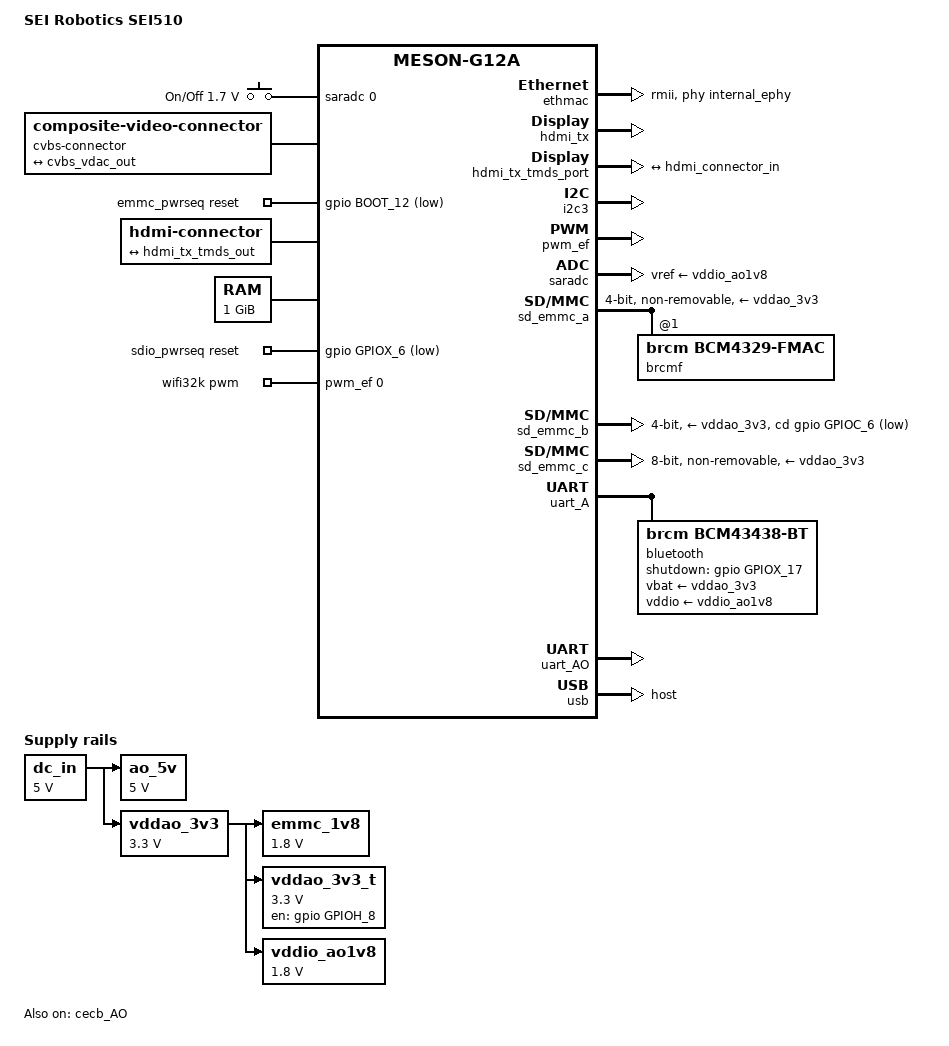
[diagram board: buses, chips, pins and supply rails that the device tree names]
// SPDX-License-Identifier: (GPL-2.0+ OR MIT)
/*
 * Copyright (c) 2019 BayLibre SAS. All rights reserved.
 */

/dts-v1/;

#include "meson-g12a.dtsi"
#include <dt-bindings/gpio/gpio.h>
#include <dt-bindings/input/input.h>
#include <dt-bindings/gpio/meson-g12a-gpio.h>

/ {
	compatible = "seirobotics,sei510", "amlogic,g12a";
	model = "SEI Robotics SEI510";

	adc_keys {
		compatible = "adc-keys";
		io-channels = <&saradc 0>;
		io-channel-names = "buttons";
		keyup-threshold-microvolt = <1800000>;

		button-onoff {
			label = "On/Off";
			linux,code = <KEY_POWER>;
			press-threshold-microvolt = <1700000>;
		};
	};

	aliases {
		serial0 = &uart_AO;
		ethernet0 = &ethmac;
	};

	chosen {
		stdout-path = "serial0:115200n8";
	};

	cvbs-connector {
		compatible = "composite-video-connector";

		port {
			cvbs_connector_in: endpoint {
				remote-endpoint = <&cvbs_vdac_out>;
			};
		};
	};

	emmc_pwrseq: emmc-pwrseq {
		compatible = "mmc-pwrseq-emmc";
		reset-gpios = <&gpio BOOT_12 GPIO_ACTIVE_LOW>;
	};

	hdmi-connector {
		compatible = "hdmi-connector";
		type = "a";

		port {
			hdmi_connector_in: endpoint {
				remote-endpoint = <&hdmi_tx_tmds_out>;
			};
		};
	};

	memory@0 {
		device_type = "memory";
		reg = <0x0 0x0 0x0 0x40000000>;
	};

	ao_5v: regulator-ao_5v {
		compatible = "regulator-fixed";
		regulator-name = "AO_5V";
		regulator-min-microvolt = <5000000>;
		regulator-max-microvolt = <5000000>;
		vin-supply = <&dc_in>;
		regulator-always-on;
	};

	dc_in: regulator-dc_in {
		compatible = "regulator-fixed";
		regulator-name = "DC_IN";
		regulator-min-microvolt = <5000000>;
		regulator-max-microvolt = <5000000>;
		regulator-always-on;
	};

	emmc_1v8: regulator-emmc_1v8 {
		compatible = "regulator-fixed";
		regulator-name = "EMMC_1V8";
		regulator-min-microvolt = <1800000>;
		regulator-max-microvolt = <1800000>;
		vin-supply = <&vddao_3v3>;
		regulator-always-on;
	};

	vddao_3v3: regulator-vddao_3v3 {
		compatible = "regulator-fixed";
		regulator-name = "VDDAO_3V3";
		regulator-min-microvolt = <3300000>;
		regulator-max-microvolt = <3300000>;
		vin-supply = <&dc_in>;
		regulator-always-on;
	};

	vddao_3v3_t: regultor-vddao_3v3_t {
		compatible = "regulator-fixed";
		regulator-name = "VDDAO_3V3_T";
		regulator-min-microvolt = <3300000>;
		regulator-max-microvolt = <3300000>;
		vin-supply = <&vddao_3v3>;
		gpio = <&gpio GPIOH_8 GPIO_OPEN_DRAIN>;
		enable-active-high;
	};

	vddio_ao1v8: regulator-vddio_ao1v8 {
		compatible = "regulator-fixed";
		regulator-name = "VDDIO_AO1V8";
		regulator-min-microvolt = <1800000>;
		regulator-max-microvolt = <1800000>;
		vin-supply = <&vddao_3v3>;
		regulator-always-on;
	};

	reserved-memory {
		/* TEE Reserved Memory */
		bl32_reserved: bl32@5000000 {
			reg = <0x0 0x05300000 0x0 0x2000000>;
			no-map;
		};
	};

	sdio_pwrseq: sdio-pwrseq {
		compatible = "mmc-pwrseq-simple";
		reset-gpios = <&gpio GPIOX_6 GPIO_ACTIVE_LOW>;
		clocks = <&wifi32k>;
		clock-names = "ext_clock";
	};

	wifi32k: wifi32k {
		compatible = "pwm-clock";
		#clock-cells = <0>;
		clock-frequency = <32768>;
		pwms = <&pwm_ef 0 30518 0>; /* PWM_E at 32.768KHz */
	};
};

&cec_AO {
	pinctrl-0 = <&cec_ao_a_h_pins>;
	pinctrl-names = "default";
	status = "disabled";
	hdmi-phandle = <&hdmi_tx>;
};

&cecb_AO {
	pinctrl-0 = <&cec_ao_b_h_pins>;
	pinctrl-names = "default";
	status = "okay";
	hdmi-phandle = <&hdmi_tx>;
};

&cvbs_vdac_port {
	cvbs_vdac_out: endpoint {
		remote-endpoint = <&cvbs_connector_in>;
	};
};

&ethmac {
	status = "okay";
	phy-handle = <&internal_ephy>;
	phy-mode = "rmii";
};

&hdmi_tx {
	status = "okay";
	pinctrl-0 = <&hdmitx_hpd_pins>, <&hdmitx_ddc_pins>;
	pinctrl-names = "default";
};

&hdmi_tx_tmds_port {
	hdmi_tx_tmds_out: endpoint {
		remote-endpoint = <&hdmi_connector_in>;
	};
};

&i2c3 {
	status = "okay";
	pinctrl-0 = <&i2c3_sda_a_pins>, <&i2c3_sck_a_pins>;
	pinctrl-names = "default";
};

&pwm_ef {
	status = "okay";
	pinctrl-0 = <&pwm_e_pins>;
	pinctrl-names = "default";
	clocks = <&xtal>;
	clock-names = "clkin0";
};

&saradc {
	status = "okay";
	vref-supply = <&vddio_ao1v8>;
};

/* SDIO */
&sd_emmc_a {
	status = "okay";
	pinctrl-0 = <&sdio_pins>;
	pinctrl-1 = <&sdio_clk_gate_pins>;
	pinctrl-names = "default", "clk-gate";
	#address-cells = <1>;
	#size-cells = <0>;

	bus-width = <4>;
	cap-sd-highspeed;
	sd-uhs-sdr50;
	max-frequency = <100000000>;

	non-removable;
	disable-wp;

	mmc-pwrseq = <&sdio_pwrseq>;

	vmmc-supply = <&vddao_3v3>;
	vqmmc-supply = <&vddio_ao1v8>;

	brcmf: wifi@1 {
		reg = <1>;
		compatible = "brcm,bcm4329-fmac";
	};
};

/* SD card */
&sd_emmc_b {
	status = "okay";
	pinctrl-0 = <&sdcard_c_pins>;
	pinctrl-1 = <&sdcard_clk_gate_c_pins>;
	pinctrl-names = "default", "clk-gate";

	bus-width = <4>;
	cap-sd-highspeed;
	max-frequency = <50000000>;
	disable-wp;

	cd-gpios = <&gpio GPIOC_6 GPIO_ACTIVE_LOW>;
	vmmc-supply = <&vddao_3v3>;
	vqmmc-supply = <&vddao_3v3>;
};

/* eMMC */
&sd_emmc_c {
	status = "okay";
	pinctrl-0 = <&emmc_pins>, <&emmc_ds_pins>;
	pinctrl-1 = <&emmc_clk_gate_pins>;
	pinctrl-names = "default", "clk-gate";

	bus-width = <8>;
	cap-mmc-highspeed;
	mmc-ddr-1_8v;
	mmc-hs200-1_8v;
	max-frequency = <200000000>;
	non-removable;
	disable-wp;

	mmc-pwrseq = <&emmc_pwrseq>;
	vmmc-supply = <&vddao_3v3>;
	vqmmc-supply = <&emmc_1v8>;
};

&uart_A {
	status = "okay";
	pinctrl-0 = <&uart_a_pins>, <&uart_a_cts_rts_pins>;
	pinctrl-names = "default";
	uart-has-rtscts;

	bluetooth {
		compatible = "brcm,bcm43438-bt";
		shutdown-gpios = <&gpio GPIOX_17 GPIO_ACTIVE_HIGH>;
		clocks = <&wifi32k>;
		clock-names = "lpo";
		vbat-supply = <&vddao_3v3>;
		vddio-supply = <&vddio_ao1v8>;
	};
};

&uart_AO {
	status = "okay";
	pinctrl-0 = <&uart_ao_a_pins>;
	pinctrl-names = "default";
};

&usb {
	status = "okay";
	dr_mode = "host";
};
